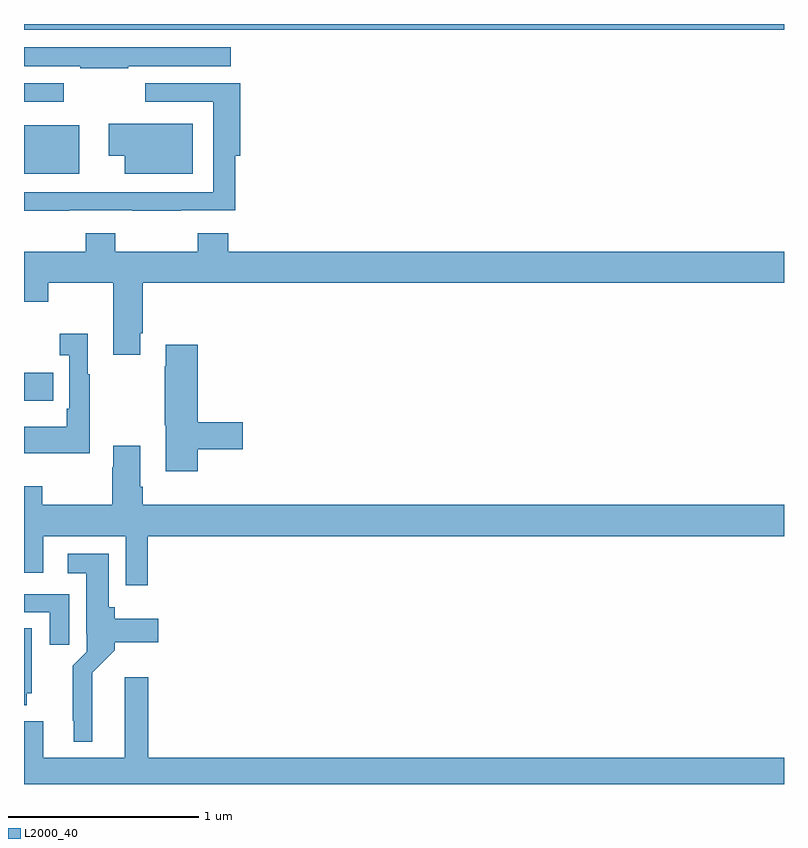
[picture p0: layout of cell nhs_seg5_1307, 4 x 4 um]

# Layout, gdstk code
import gdstk
lib = gdstk.Library(unit=1e-6, precision=1e-09)
def R(c, l, rs):  # rectangles x0, y0, x1, y1
    for r in rs: c.add(gdstk.rectangle(r[:2], r[2:], *l))
def P(c, l, *ps):  # polygons
    for p in ps: c.add(gdstk.Polygon(p, *l))
L2000_40 = (2000, 40)

nhs_seg5_1307 = lib.new_cell('nhs_seg5_1307')
R(nhs_seg5_1307, L2000_40, [(191,846.815,191.153,846.963), (191,848.012,191.29,848.266), (191,848.391,191.209,848.487), (191,848.768,195,848.799)])
P(nhs_seg5_1307, L2000_40, [(191.549,848.576),(192.088,848.576),(192.088,848.677),(191,848.677),(191,848.576),(191.296,848.576),(191.296,848.566),(191.549,848.566)],
  [(191.237,847.818),(191.569,847.818),(191.569,847.817),(191.825,847.817),(191.825,847.818),(192.113,847.818),(192.113,848.105),(192.137,848.105),(192.137,848.487),(191.637,848.487),(191.637,848.391),(191.997,848.391),(191.997,847.914),(191,847.914),(191,847.817),(191.237,847.817)],
  [(191.887,848.275),(191.447,848.275),(191.447,848.105),(191.531,848.105),(191.531,848.012),(191.887,848.012)],
  [(191.611,847.171),(191.624,847.171),(191.624,847.436),(195,847.436),(195,847.6),(192.074,847.6),(192.074,847.699),(191.914,847.699),(191.914,847.6),(191.481,847.6),(191.481,847.699),(191.326,847.699),(191.326,847.6),(191,847.6),(191,847.337),(191.127,847.337),(191.127,847.436),(191.471,847.436),(191.471,847.059),(191.611,847.059)],
  [(191.347,846.955),(191.335,846.955),(191.335,847.168),(191.187,847.168),(191.187,847.055),(191.238,847.055),(191.238,846.775),(191.226,846.775),(191.226,846.679),(191,846.679),(191,846.539),(191.347,846.539)],
  [(191.915,846.562),(192.151,846.562),(192.151,846.704),(191.915,846.704),(191.915,847.111),(191.747,847.111),(191.747,846.998),(191.74,846.998),(191.74,846.687),(191.747,846.687),(191.747,846.444),(191.915,846.444)],
  [(191.651,846.104),(195,846.104),(195,846.268),(191.624,846.268),(191.624,846.364),(191.611,846.364),(191.611,846.58),(191.471,846.58),(191.471,846.467),(191.464,846.467),(191.464,846.268),(191.097,846.268),(191.097,846.367),(191,846.367),(191,845.91),(191.101,845.91),(191.101,846.104),(191.535,846.104),(191.535,845.844),(191.651,845.844)],
  [(191.359,845.384),(191.477,845.502),(191.477,845.546),(191.707,845.546),(191.707,845.668),(191.477,845.668),(191.477,845.73),(191.446,845.73),(191.446,846.01),(191.229,846.01),(191.229,845.909),(191.327,845.909),(191.327,845.59),(191.331,845.59),(191.331,845.496),(191.257,845.422),(191.257,845.131),(191.261,845.131),(191.261,845.021),(191.359,845.021)],
  [(191.239,845.799),(191,845.799),(191,845.703),(191.135,845.703),(191.135,845.532),(191.239,845.532)],
  [(191.014,845.277),(191.041,845.277),(191.041,845.618),(191,845.618),(191,845.213),(191.014,845.213)],
  [(195,844.936),(191.654,844.936),(191.654,845.362),(191.531,845.362),(191.531,844.936),(191.101,844.936),(191.101,845.128),(191,845.128),(191,844.799),(195,844.799)])

lib.write_gds('nhs_seg5_1307.gds')
